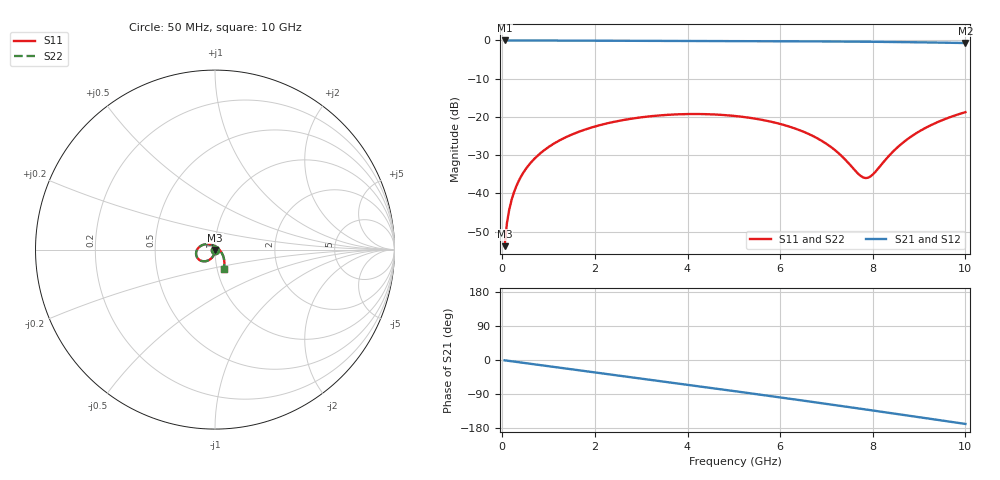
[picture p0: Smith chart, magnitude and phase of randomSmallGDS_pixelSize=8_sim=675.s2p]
! freq	dB(S11)	phase(S11)	dB(S12)	phase(S12)
!  dB(S21)	phase(S21)	dB(S22)	phase(S22)
!S-par simulation data
#  GHz  S  DB  R 50
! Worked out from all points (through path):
!   200 points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, 50 MHz to 10 GHz, reference 50 ohm
!   highest |S21| = 0.00 dB at 50 MHz (marker M1); lowest = -0.7 dB at 10 GHz (marker M2)
!   group delay of S21, straight-line fit = 46.7 ps
!   lowest |S11| = -53.8 dB at 50 MHz (marker M3), VSWR 1.00, Z = 50 - j0.205 ohm
!   |S11| at or under -10 dB: start of sweep to end of sweep
!   |S22| runs from -53.8 to -18.7 dB; largest |S21 - S12| = 0
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0.05  -53.77 -90.4  -0.00 -0.8  -0.00 -0.8  -53.77 -90.4
0.1  -47.74 -91.7  -0.00 -1.7  -0.00 -1.7  -47.74 -91.7
0.15  -44.21 -92.7  -0.00 -2.5  -0.00 -2.5  -44.21 -92.7
0.2  -41.71 -93.7  -0.00 -3.3  -0.00 -3.3  -41.71 -93.7
0.35  -36.83 -96.4  -0.01 -5.8  -0.01 -5.8  -36.83 -96.4
0.5  -33.73 -99.0  -0.01 -8.3  -0.01 -8.3  -33.73 -99.0
0.7  -30.85 -102.3  -0.02 -11.5  -0.02 -11.5  -30.85 -102.3
1  -27.85 -107.4  -0.03 -16.4  -0.03 -16.4  -27.85 -107.4
1.75  -23.44 -119.9  -0.05 -28.7  -0.05 -28.7  -23.44 -119.9
2.5  -21.05 -132.4  -0.08 -40.9  -0.08 -40.9  -21.05 -132.4
3.4  -19.59 -147.5  -0.11 -55.6  -0.11 -55.6  -19.59 -147.5
4.25  -19.23 -162.1  -0.14 -69.5  -0.14 -69.5  -19.23 -162.1
5.05  -19.78 -176.5  -0.17 -82.8  -0.17 -82.8  -19.78 -176.4
5.95  -21.66 165.9  -0.20 -97.9  -0.20 -97.9  -21.66 165.9
6.7  -24.93 147.8  -0.24 -110.6  -0.24 -110.6  -24.93 147.8
7.2  -28.83 129.4  -0.27 -119.3  -0.27 -119.3  -28.83 129.5
7.8  -35.84 64.8  -0.33 -129.7  -0.33 -129.7  -35.89 64.9
8  -35.05 25.4  -0.35 -133.2  -0.35 -133.2  -35.09 25.3
8.35  -30.15 -14.1  -0.39 -139.4  -0.39 -139.4  -30.17 -14.2
8.65  -26.73 -30.0  -0.43 -144.7  -0.43 -144.7  -26.74 -30.1
9.05  -23.45 -43.5  -0.49 -151.8  -0.49 -151.8  -23.45 -43.6
10  -18.74 -65.7  -0.67 -168.7  -0.67 -168.7  -18.75 -65.8
